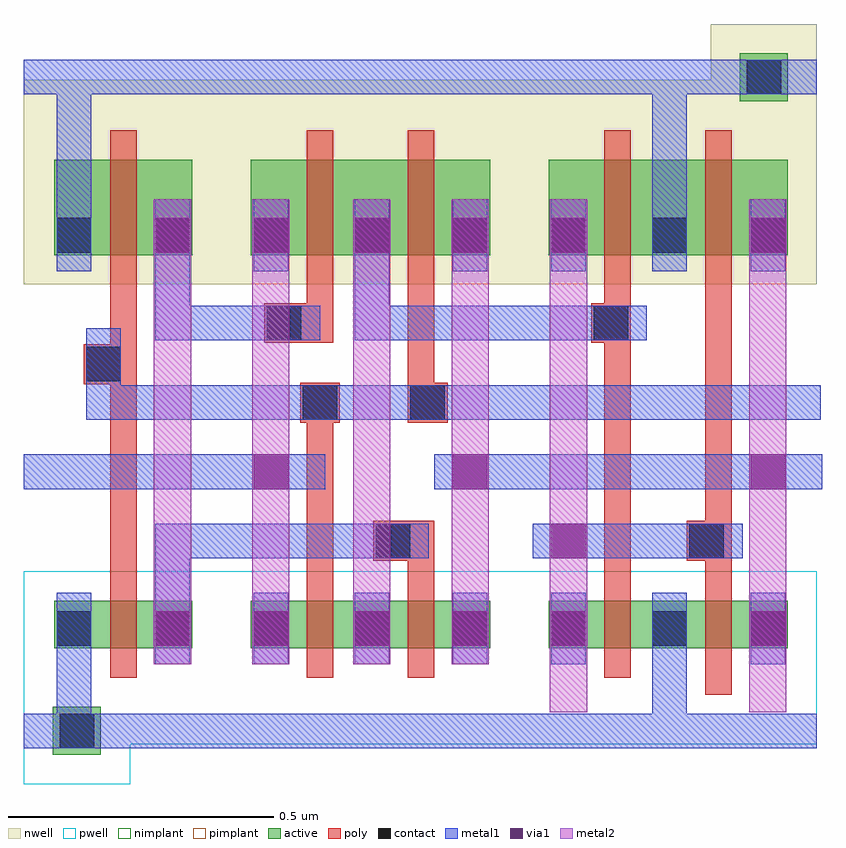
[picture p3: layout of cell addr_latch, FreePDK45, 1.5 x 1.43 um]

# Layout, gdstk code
from math import pi, radians
import gdstk
lib = gdstk.Library(unit=1e-6, precision=5e-10)
def R(c, l, rs):  # rectangles x0, y0, x1, y1
    for r in rs: c.add(gdstk.rectangle(r[:2], r[2:], *l))
active = (1, 0)
pwell = (2, 0)
nwell = (3, 0)
nimplant = (4, 0)
pimplant = (5, 0)
poly = (9, 0)
contact = (10, 0)
metal1 = (11, 0)
via1 = (12, 0)
metal2 = (13, 0)

dcont_29 = lib.new_cell('dcont_29')
R(dcont_29, active, [(-0.0375,0.03,0.0375,0.105)])
R(dcont_29, contact, [(-0.0325,0.035,0.0325,0.1)])
R(dcont_29, metal1, [(-0.0325,0,0.0325,0.135)])

pmos_vtl_16 = lib.new_cell('pmos_vtl_16')
R(pmos_vtl_16, active, [(-0.105,0,0.12,0.18), (-0.105,0,-0.03,0.18), (-0.105,0,-0.03,0.18), (0.05,0,0.12,0.18)])
R(pmos_vtl_16, nwell, [(-0.16,-0.055,0.175,0.235)])
R(pmos_vtl_16, pimplant, [(-0.105,0,0.12,0.18)])
R(pmos_vtl_16, poly, [(0,-0.055,0.05,0), (0,-0.055,0.05,0.235), (0,0.18,0.05,0.235)])
pmos_vtl_16.add(gdstk.Reference(dcont_29, (-0.0675,-0.03)))
pmos_vtl_16.add(gdstk.Label('l = 0.05', (0.06,0.09), layer=239, texttype=0))
pmos_vtl_16.add(gdstk.Label('w = 0.18', (0.025,0.245), layer=239, texttype=0))

nmos_vtl_17 = lib.new_cell('nmos_vtl_17')
R(nmos_vtl_17, active, [(-0.105,0,0.12,0.09), (-0.105,0,-0.03,0.09), (-0.105,0,-0.03,0.09), (0.05,0,0.12,0.09)])
R(nmos_vtl_17, pwell, [(-0.16,-0.055,0.175,0.145)])
R(nmos_vtl_17, nimplant, [(-0.105,0,0.12,0.09)])
R(nmos_vtl_17, poly, [(0,-0.055,0.05,0), (0,-0.055,0.05,0.145), (0,0.09,0.05,0.145)])
nmos_vtl_17.add(gdstk.Reference(dcont_29, (-0.0675,-0.03)))
nmos_vtl_17.add(gdstk.Label('l = 0.05', (0.06,0.045), layer=239, texttype=0))
nmos_vtl_17.add(gdstk.Label('w = 0.09', (0.025,0.155), layer=239, texttype=0))

pmos_vtl_8 = lib.new_cell('pmos_vtl_8')
R(pmos_vtl_8, active, [(-0.105,0,0.155,0.18), (-0.105,0,-0.03,0.18), (-0.105,0,-0.03,0.18), (0.08,0,0.155,0.18), (0.08,0,0.155,0.18)])
R(pmos_vtl_8, nwell, [(-0.16,-0.055,0.21,0.235)])
R(pmos_vtl_8, pimplant, [(-0.105,0,0.155,0.18)])
R(pmos_vtl_8, poly, [(0,-0.055,0.05,0), (0,-0.055,0.05,0.235), (0,0.18,0.05,0.235)])
pmos_vtl_8.add(gdstk.Reference(dcont_29, (0.1175,-0.03)))
pmos_vtl_8.add(gdstk.Reference(dcont_29, (-0.0675,-0.03)))
pmos_vtl_8.add(gdstk.Label('l = 0.05', (0.06,0.09), layer=239, texttype=0))
pmos_vtl_8.add(gdstk.Label('w = 0.18', (0.025,0.245), layer=239, texttype=0))

nmos_vtl_6 = lib.new_cell('nmos_vtl_6')
R(nmos_vtl_6, active, [(-0.105,0,0.155,0.09), (-0.105,0,-0.03,0.09), (-0.105,0,-0.03,0.09), (0.08,0,0.155,0.09), (0.08,0,0.155,0.09)])
R(nmos_vtl_6, pwell, [(-0.16,-0.055,0.21,0.145)])
R(nmos_vtl_6, nimplant, [(-0.105,0,0.155,0.09)])
R(nmos_vtl_6, poly, [(0,-0.055,0.05,0), (0,-0.055,0.05,0.145), (0,0.09,0.05,0.145)])
nmos_vtl_6.add(gdstk.Reference(dcont_29, (0.1175,-0.03)))
nmos_vtl_6.add(gdstk.Reference(dcont_29, (-0.0675,-0.03)))
nmos_vtl_6.add(gdstk.Label('l = 0.05', (0.06,0.045), layer=239, texttype=0))
nmos_vtl_6.add(gdstk.Label('w = 0.09', (0.025,0.155), layer=239, texttype=0))

m2_m1_4 = lib.new_cell('M2_M1_4')
R(m2_m1_4, metal1, [(-0.0325,-0.0675,0.0325,0.0675)])
R(m2_m1_4, via1, [(-0.0325,-0.0325,0.0325,0.0325)])
R(m2_m1_4, metal2, [(-0.035,-0.0675,0.035,0.0675)])

m1_poly_3 = lib.new_cell('M1_POLY_3')
R(m1_poly_3, poly, [(-0.0375,-0.0375,0.0375,0.0375)])
R(m1_poly_3, contact, [(-0.0325,-0.0325,0.0325,0.0325)])
R(m1_poly_3, metal1, [(-0.0325,-0.0675,0.0325,0.0675)])

ntap_0 = lib.new_cell('NTAP_0')
R(ntap_0, active, [(-0.045,-0.045,0.045,0.045)])
R(ntap_0, nwell, [(-0.1,-0.1,0.1,0.1)])
R(ntap_0, nimplant, [(-0.045,-0.045,0.045,0.045)])
R(ntap_0, contact, [(-0.0325,-0.0325,0.0325,0.0325)])
R(ntap_0, metal1, [(-0.0325,-0.0675,0.0325,0.0675)])

ptap_1 = lib.new_cell('PTAP_1')
R(ptap_1, active, [(-0.045,-0.045,0.045,0.045)])
R(ptap_1, pwell, [(-0.1,-0.1,0.1,0.1)])
R(ptap_1, pimplant, [(-0.045,-0.045,0.045,0.045)])
R(ptap_1, contact, [(-0.0325,-0.0325,0.0325,0.0325)])
R(ptap_1, metal1, [(-0.0325,-0.0675,0.0325,0.0675)])

m2_m1_via = lib.new_cell('M2_M1_via')
R(m2_m1_via, metal1, [(-0.0675,-0.0325,0.0675,0.0325)])
R(m2_m1_via, via1, [(-0.0325,-0.0325,0.0325,0.0325)])
R(m2_m1_via, metal2, [(-0.035,-0.0675,0.035,0.0675)])

addr_latch = lib.new_cell('addr_latch')
R(addr_latch, pwell, [(0,-0.135,1.4925,0.19)])
R(addr_latch, nwell, [(0,0.73,1.4925,1.115)])
R(addr_latch, poly, [(0.525,0.62,0.535,0.695)])
R(addr_latch, metal1, [(0.2575,-0.1325,0.3375,-0.0825), (0.2475,0.125,0.3125,0.28), (0.255,0.215,0.7625,0.28), (0,0.345,0.5675,0.41), (0.7725,0.345,1.5025,0.41), (0.815,0.475,1.5,0.54), (0.2475,0.625,0.3125,0.755), (0.2475,0.625,0.5575,0.69), (0.6225,0.625,1.0425,0.69), (0.6225,0.625,0.6875,0.7625), (0.335,1.095,0.4225,1.1375)])
addr_latch.add(gdstk.FlexPath([(0.1875,0.745),(0.1875,0.1725)], 0.05, ends="flush", simple_path=True, layer=9, datatype=0))  # poly
addr_latch.add(gdstk.FlexPath([(1.3075,0.745),(1.3075,-0.0425)], 0.05, ends="flush", simple_path=True, layer=9, datatype=0))  # poly
addr_latch.add(gdstk.FlexPath([(1.1175,0.745),(1.1175,-0.0025)], 0.05, ends="flush", simple_path=True, layer=9, datatype=0))  # poly
addr_latch.add(gdstk.FlexPath([(0.5575,0.74),(0.5575,0.62)], 0.05, ends="flush", simple_path=True, layer=9, datatype=0))  # poly
addr_latch.add(gdstk.FlexPath([(0.7475,0.745),(0.7475,0.49)], 0.05, ends="flush", simple_path=True, layer=9, datatype=0))  # poly
addr_latch.add(gdstk.FlexPath([(0.7475,0.175),(0.7475,0.285)], 0.05, ends="flush", simple_path=True, layer=9, datatype=0))  # poly
addr_latch.add(gdstk.FlexPath([(0.5575,0.1425),(0.5575,0.53)], 0.05, ends="flush", simple_path=True, layer=9, datatype=0))  # poly
addr_latch.add(gdstk.FlexPath([(0.465,0.7825),(0.465,0.075)], 0.07, ends="flush", simple_path=True, layer=13, datatype=0))  # metal2
addr_latch.add(gdstk.FlexPath([(0.655,0.785),(0.655,0.135)], 0.07, ends="flush", simple_path=True, layer=13, datatype=0))  # metal2
addr_latch.add(gdstk.FlexPath([(1.4,0.7825),(1.4,-0.075)], 0.07, ends="flush", simple_path=True, layer=13, datatype=0))  # metal2
addr_latch.add(gdstk.FlexPath([(0.28,0.7825),(0.28,0.0975)], 0.07, ends="flush", simple_path=True, layer=13, datatype=0))  # metal2
addr_latch.add(gdstk.FlexPath([(0.84,0.7825),(0.84,0.1025)], 0.07, ends="flush", simple_path=True, layer=13, datatype=0))  # metal2
addr_latch.add(gdstk.FlexPath([(1.025,0.7825),(1.025,-0.075)], 0.07, ends="flush", simple_path=True, layer=13, datatype=0))  # metal2
addr_latch.add(gdstk.FlexPath([(1.215,0.8375),(1.215,1.1075)], 0.065, ends="flush", simple_path=True, layer=11, datatype=0))  # metal1
addr_latch.add(gdstk.FlexPath([(1.215,-0.12),(1.215,0.15)], 0.065, ends="flush", simple_path=True, layer=11, datatype=0))  # metal1
addr_latch.add(gdstk.FlexPath([(0.095,0.8375),(0.095,1.1075)], 0.065, ends="flush", simple_path=True, layer=11, datatype=0))  # metal1
addr_latch.add(gdstk.FlexPath([(0.095,-0.12),(0.095,0.15)], 0.065, ends="flush", simple_path=True, layer=11, datatype=0))  # metal1
addr_latch.add(gdstk.FlexPath([(0.59,0.5075),(0.7375,0.5075)], 0.065, ends="flush", simple_path=True, layer=11, datatype=0))  # metal1
addr_latch.add(gdstk.FlexPath([(0.1175,0.5075),(0.5325,0.5075)], 0.065, ends="flush", simple_path=True, layer=11, datatype=0))  # metal1
addr_latch.add(gdstk.FlexPath([(1.2325,0.2475),(0.9925,0.2475)], 0.065, ends="flush", simple_path=True, layer=11, datatype=0))  # metal1
addr_latch.add(gdstk.FlexPath([(0,-0.11),(1.4925,-0.11)], 0.065, ends="flush", simple_path=True, layer=11, datatype=0))  # metal1
addr_latch.add(gdstk.FlexPath([(0.0625,1.12),(1.4925,1.12)], 0.065, ends="flush", simple_path=True, layer=11, datatype=0))  # metal1
addr_latch.add(gdstk.FlexPath([(0.0625,1.12),(0,1.12)], 0.065, ends="flush", simple_path=True, layer=11, datatype=0))  # metal1
addr_latch.add(gdstk.Reference(pmos_vtl_16, (1.0925,0.785)))
addr_latch.add(gdstk.Reference(pmos_vtl_16, (0.5325,0.785)))
addr_latch.add(gdstk.Reference(nmos_vtl_17, (0.5325,0.045)))
addr_latch.add(gdstk.Reference(nmos_vtl_17, (1.0925,0.045)))
addr_latch.add(gdstk.Reference(pmos_vtl_8, (0.7225,0.785)))
addr_latch.add(gdstk.Reference(pmos_vtl_8, (1.2825,0.785)))
addr_latch.add(gdstk.Reference(pmos_vtl_8, (0.1625,0.785)))
addr_latch.add(gdstk.Reference(nmos_vtl_6, (1.2825,0.045)))
addr_latch.add(gdstk.Reference(nmos_vtl_6, (0.7225,0.045)))
addr_latch.add(gdstk.Reference(nmos_vtl_6, (0.1625,0.045)))
addr_latch.add(gdstk.Reference(m2_m1_4, (1.4,0.8225)))
addr_latch.add(gdstk.Reference(m2_m1_4, (1.4,0.0825)))
addr_latch.add(gdstk.Reference(m2_m1_4, (1.025,0.0825)))
addr_latch.add(gdstk.Reference(m2_m1_4, (1.025,0.8225)))
addr_latch.add(gdstk.Reference(m2_m1_4, (0.84,0.8225)))
addr_latch.add(gdstk.Reference(m2_m1_4, (0.655,0.8225)))
addr_latch.add(gdstk.Reference(m2_m1_4, (0.465,0.8225)))
addr_latch.add(gdstk.Reference(m2_m1_4, (0.28,0.8225)))
addr_latch.add(gdstk.Reference(m2_m1_4, (0.28,0.0825)))
addr_latch.add(gdstk.Reference(m2_m1_4, (0.465,0.0825)))
addr_latch.add(gdstk.Reference(m2_m1_4, (0.655,0.0825)))
addr_latch.add(gdstk.Reference(m2_m1_4, (0.84,0.0825)))
addr_latch.add(gdstk.Reference(m1_poly_3, (1.285,0.2475), rotation=3*pi/2))
addr_latch.add(gdstk.Reference(m1_poly_3, (0.5575,0.5075), rotation=pi/2))
addr_latch.add(gdstk.Reference(m1_poly_3, (0.695,0.2475), rotation=3*pi/2))
addr_latch.add(gdstk.Reference(m1_poly_3, (0.76,0.5075), rotation=3*pi/2))
addr_latch.add(gdstk.Reference(m1_poly_3, (0.49,0.6575), rotation=3*pi/2))
addr_latch.add(gdstk.Reference(m1_poly_3, (1.105,0.6575), rotation=3*pi/2))
addr_latch.add(gdstk.Reference(m1_poly_3, (0.15,0.58), rotation=pi))
addr_latch.add(gdstk.Reference(ntap_0, (1.3925,1.12), rotation=3*pi/2))
addr_latch.add(gdstk.Reference(ptap_1, (0.1,-0.11), rotation=3*pi/2))
addr_latch.add(gdstk.Reference(m2_m1_via, (0.84,0.3775)))
addr_latch.add(gdstk.Reference(m2_m1_via, (1.4,0.3775)))
addr_latch.add(gdstk.Reference(m2_m1_via, (1.025,0.2475)))
addr_latch.add(gdstk.Reference(m2_m1_via, (0.465,0.3775)))

lib.write_gds('addr_latch.gds')
